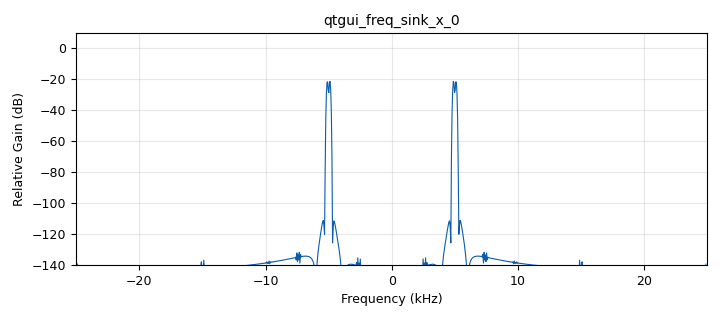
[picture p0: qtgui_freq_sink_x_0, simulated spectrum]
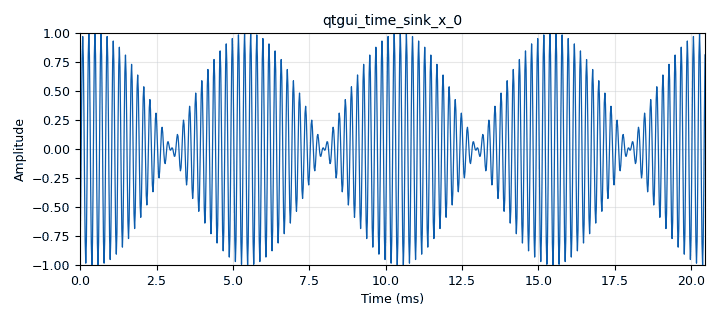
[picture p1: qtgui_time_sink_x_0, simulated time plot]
options:
  parameters:
    author: labsdr
    generate_options: qt_gui
    id: top_block
    output_language: python
    title: hands_on_1
  states: {}

blocks:
- name: samp_rate
  id: variable
  parameters:
    value: '50000'
  states: {}
- name: analog_sig_source_x_0
  id: analog_sig_source_x
  parameters:
    amp: '1'
    freq: '5000'
    offset: '0'
    phase: '0'
    samp_rate: samp_rate
    type: float
    waveform: analog.GR_COS_WAVE
  states: {}
- name: analog_sig_source_x_0_0
  id: analog_sig_source_x
  parameters:
    amp: '1'
    freq: '100'
    offset: '0'
    phase: '0'
    samp_rate: samp_rate
    type: float
    waveform: analog.GR_COS_WAVE
  states: {}
- name: blocks_multiply_xx_0
  id: blocks_multiply_xx
  parameters:
    type: float
  states: {}
- name: blocks_throttle_0
  id: blocks_throttle
  parameters:
    samples_per_second: samp_rate
    type: float
  states: {}
- name: janela
  id: qtgui_tab_widget
  parameters:
    label0: Scope
    label1: FFT
    num_tabs: '2'
  states: {}
- name: qtgui_freq_sink_x_0
  id: qtgui_freq_sink_x
  parameters:
    bw: samp_rate
    ctrlpanel: 'True'
    fc: '0'
    fftsize: '1024'
    gui_hint: janela@1
    type: float
  states: {}
- name: qtgui_time_sink_x_0
  id: qtgui_time_sink_x
  parameters:
    ctrlpanel: 'True'
    gui_hint: janela@0
    label1: ''
    size: '1024'
    srate: samp_rate
    type: float
  states: {}

connections:
- [analog_sig_source_x_0, '0', blocks_multiply_xx_0, '0']
- [analog_sig_source_x_0_0, '0', blocks_multiply_xx_0, '1']
- [blocks_multiply_xx_0, '0', blocks_throttle_0, '0']
- [blocks_throttle_0, '0', qtgui_freq_sink_x_0, '0']
- [blocks_throttle_0, '0', qtgui_time_sink_x_0, '0']

metadata:
  file_format: 1
